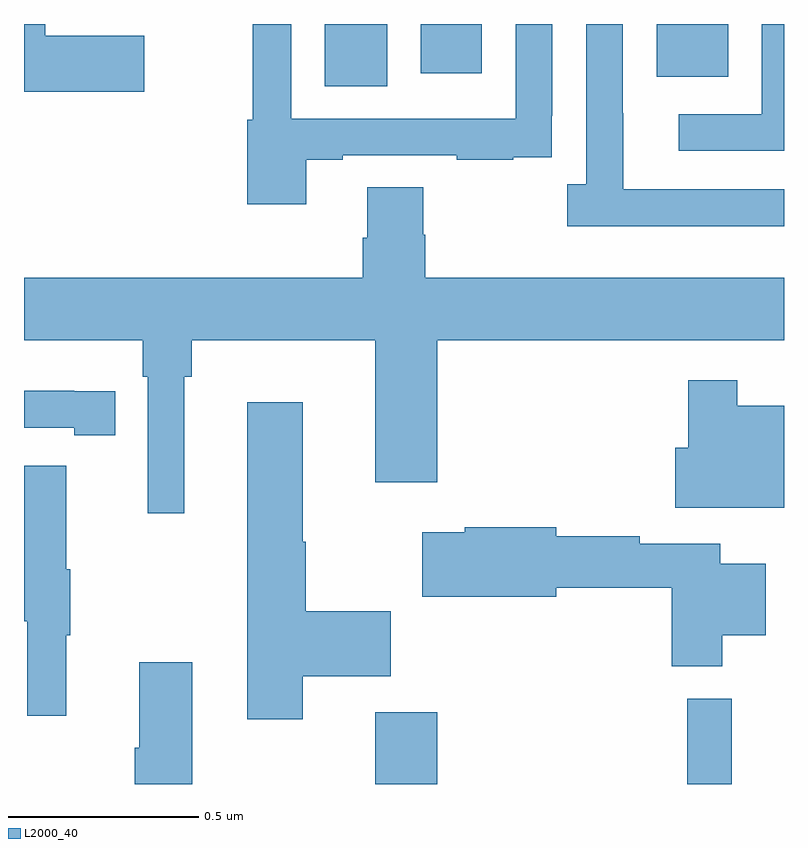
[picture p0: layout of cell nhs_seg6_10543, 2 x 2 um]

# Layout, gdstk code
import gdstk
lib = gdstk.Library(unit=1e-6, precision=1e-09)
def R(c, l, rs):  # rectangles x0, y0, x1, y1
    for r in rs: c.add(gdstk.rectangle(r[:2], r[2:], *l))
def P(c, l, *ps):  # polygons
    for p in ps: c.add(gdstk.Polygon(p, *l))
L2000_40 = (2000, 40)

nhs_seg6_10543 = lib.new_cell('nhs_seg6_10543')
R(nhs_seg6_10543, L2000_40, [(248.924,947.5,249.088,947.689), (249.745,947.5,249.863,947.725), (248.792,949.336,248.956,949.5), (249.665,949.361,249.853,949.5), (249.044,949.371,249.205,949.5)])
P(nhs_seg6_10543, L2000_40, [(250,949.065),(249.577,949.065),(249.577,949.265),(249.576,949.265),(249.576,949.5),(249.48,949.5),(249.48,949.078),(249.429,949.078),(249.429,948.968),(250,948.968)],
  [(250,949.5),(249.942,949.5),(249.942,949.263),(249.723,949.263),(249.723,949.167),(250,949.167)],
  [(248.743,949.143),(248.839,949.143),(248.839,949.155),(249.139,949.155),(249.139,949.143),(249.287,949.143),(249.287,949.149),(249.389,949.149),(249.389,949.258),(249.39,949.258),(249.39,949.5),(249.294,949.5),(249.294,949.251),(248.703,949.251),(248.703,949.5),(248.602,949.5),(248.602,949.248),(248.587,949.248),(248.587,949.026),(248.743,949.026)],
  [(248.317,949.469),(248.056,949.469),(248.056,949.5),(248,949.5),(248,949.322),(248.317,949.322)],
  [(248.422,948.572),(248.441,948.572),(248.441,948.668),(248.924,948.668),(248.924,948.294),(249.088,948.294),(249.088,948.668),(250,948.668),(250,948.832),(249.056,948.832),(249.056,948.945),(249.051,948.945),(249.051,949.07),(248.903,949.07),(248.903,948.938),(248.891,948.938),(248.891,948.832),(248,948.832),(248,948.668),(248.312,948.668),(248.312,948.572),(248.325,948.572),(248.325,948.213),(248.422,948.213)],
  [(250,948.496),(249.877,948.496),(249.877,948.562),(249.748,948.562),(249.748,948.385),(249.714,948.385),(249.714,948.227),(250,948.227)],
  [(248.24,948.534),(248.132,948.534),(248.132,948.535),(248,948.535),(248,948.438),(248.132,948.438),(248.132,948.418),(248.24,948.418)],
  [(248.734,947.783),(248.965,947.783),(248.965,947.954),(248.742,947.954),(248.742,948.137),(248.734,948.137),(248.734,948.505),(248.588,948.505),(248.588,947.67),(248.734,947.67)],
  [(248.111,947.891),(248.122,947.891),(248.122,948.065),(248.111,948.065),(248.111,948.337),(248,948.337),(248,948.142),(248.001,948.142),(248.001,947.928),(248.008,947.928),(248.008,947.679),(248.111,947.679)],
  [(249.838,947.891),(249.952,947.891),(249.952,948.079),(249.832,948.079),(249.832,948.132),(249.62,948.132),(249.62,948.152),(249.4,948.152),(249.4,948.176),(249.16,948.176),(249.16,948.163),(249.048,948.163),(249.048,947.993),(249.4,947.993),(249.4,948.016),(249.704,948.016),(249.704,947.81),(249.838,947.81)],
  [(248.303,947.821),(248.303,947.596),(248.291,947.596),(248.291,947.5),(248.443,947.5),(248.443,947.821)])

lib.write_gds('nhs_seg6_10543.gds')
